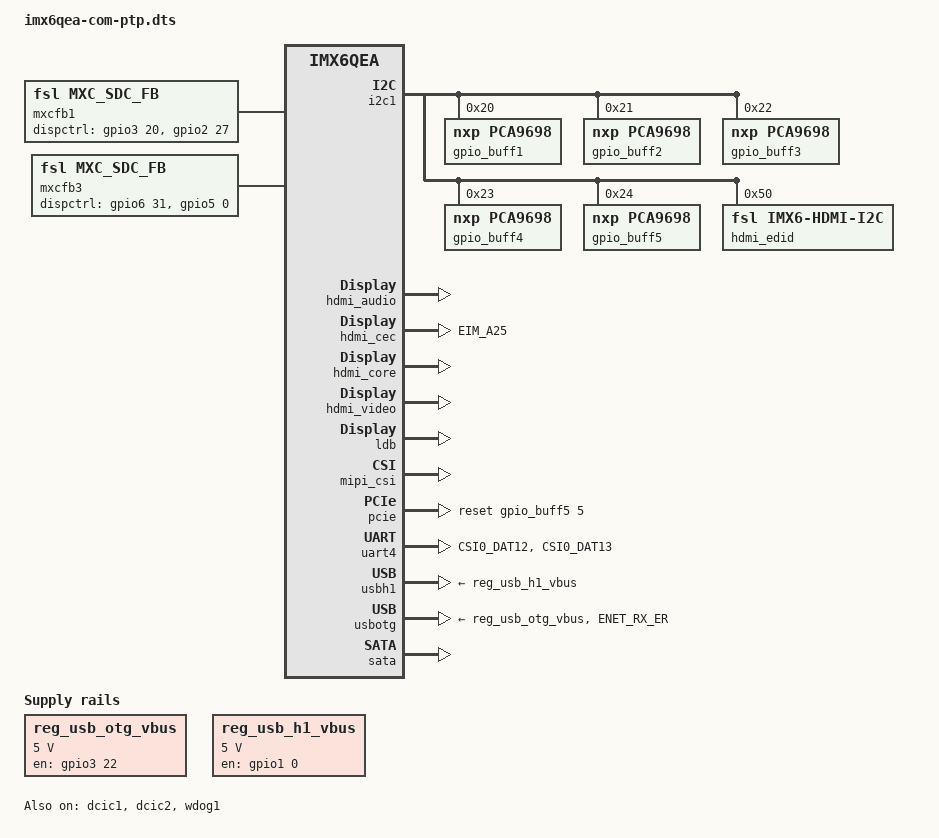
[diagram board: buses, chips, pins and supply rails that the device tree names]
/*
 * Copyright 2012 Freescale Semiconductor, Inc.
 * Copyright 2011 Linaro Ltd.
 *
 * The code contained herein is licensed under the GNU General Public
 * License. You may obtain a copy of the GNU General Public License
 * Version 2 or later at the following locations:
 *
 * http://www.opensource.org/licenses/gpl-license.html
 * http://www.gnu.org/copyleft/gpl.html
 */

/dts-v1/;
 
#include "imx6qea-com.dtsi"


/ {
	aliases {
		mxcfb0 = &mxcfb1;
		mxcfb1 = &mxcfb2;
		mxcfb2 = &mxcfb3;
	};


	regulators {
		compatible = "simple-bus";
		#address-cells = <1>;
		#size-cells = <0>;

		reg_usb_otg_vbus: regulator@0 {
			compatible = "regulator-fixed";
			reg = <0>;
			regulator-name = "usb_otg_vbus";
			regulator-min-microvolt = <5000000>;
			regulator-max-microvolt = <5000000>;
			gpio = <&gpio3 22 GPIO_ACTIVE_HIGH>;
			enable-active-high;
		};

		reg_usb_h1_vbus: regulator@1 {
			compatible = "regulator-fixed";
			reg = <1>;
			pinctrl-names = "default";
			pinctrl-0 = <&pinctrl_usb_h1>;
			regulator-name = "usb_h1_vbus";
			regulator-min-microvolt = <5000000>;
			regulator-max-microvolt = <5000000>;
			gpio = <&gpio1 0 GPIO_ACTIVE_HIGH>;
			enable-active-high;
		};
	};

	sound-hdmi {
		compatible = "fsl,imx6q-audio-hdmi",
			     "fsl,imx-audio-hdmi";
		model = "imx-audio-hdmi";
		hdmi-controller = <&hdmi_audio>;
	};

	mxcfb1: fb@0 {
		compatible = "fsl,mxc_sdc_fb";
		disp_dev = "ldb";
		interface_pix_fmt = "RGB24";
		default_bpp = <32>;
		int_clk = <0>;
		late_init = <0>;
		dispctrl-gpios = <&gpio3 20 GPIO_ACTIVE_HIGH>, <&gpio2 27 GPIO_ACTIVE_HIGH>;
		status = "okay";
	};

	mxcfb2: fb@1 {
		compatible = "fsl,mxc_sdc_fb";
		disp_dev = "hdmi";
		interface_pix_fmt = "RGB24";
		mode_str ="640x480M@60";
		default_bpp = <32>;
		int_clk = <0>;
		late_init = <0>;
		status = "okay";
	};

	mxcfb3: fb@2 {
		compatible = "fsl,mxc_sdc_fb";
		disp_dev = "ldb";
		interface_pix_fmt = "RGB24";
		default_bpp = <32>;
		int_clk = <0>;
		late_init = <0>;
		dispctrl-gpios = <&gpio6 31 GPIO_ACTIVE_HIGH>, <&gpio5 0 GPIO_ACTIVE_HIGH>;
		status = "okay";
	};
};

&i2c1 {
        gpio_buff1: pca9698@20 {
                compatible = "nxp,pca9698";
                reg = <0x20>;
                gpio-controller;
                #gpio-cells = <2>;
        };
        gpio_buff2: pca9698@21 {
                compatible = "nxp,pca9698";
                reg = <0x21>;
                gpio-controller;
                #gpio-cells = <2>;
        };
        gpio_buff3: pca9698@22 {
                compatible = "nxp,pca9698";
                reg = <0x22>;
                gpio-controller;
                #gpio-cells = <2>;
        };
        gpio_buff4: pca9698@23 {
                compatible = "nxp,pca9698";
                reg = <0x23>;
                gpio-controller;
                #gpio-cells = <2>;
        };
        gpio_buff5: pca9698@24 {
                compatible = "nxp,pca9698";
                reg = <0x24>;
                gpio-controller;
                #gpio-cells = <2>;
        };	
	hdmi_edid: edid@50 {
		compatible = "fsl,imx6-hdmi-i2c";
		reg = <0x50>;
	};
};

&i2c2 {
	status = "disabled";
};

&i2c3 {
	status = "disabled";
};


&iomuxc {
	pinctrl-0 = <&pinctrl_hog>, <&pinctrl_test>;

	imx6qea-com-kit {
		pinctrl_test: tstgrp {
			fsl,pins = <
				/* From imx6qea-com.dtsi  */
				MX6QDL_PAD_EIM_D17__GPIO3_IO17		0x1f099
				MX6QDL_PAD_EIM_D18__GPIO3_IO18		0x1f099
				MX6QDL_PAD_EIM_D16__GPIO3_IO16		0x1f099
				MX6QDL_PAD_KEY_COL3__GPIO4_IO12		0x1f099
				MX6QDL_PAD_KEY_ROW3__GPIO4_IO13		0x1f099
				MX6QDL_PAD_GPIO_5__GPIO1_IO05		0x1f099
				MX6QDL_PAD_GPIO_6__GPIO1_IO06		0x1f099

				/* From pinctrl_audmux: audmuxgrp */
				MX6QDL_PAD_CSI0_DAT7__GPIO5_IO25	0x1f099
				MX6QDL_PAD_CSI0_DAT4__GPIO5_IO22	0x1f099
				MX6QDL_PAD_CSI0_DAT5__GPIO5_IO23	0x1f099
				MX6QDL_PAD_CSI0_DAT6__GPIO5_IO24	0x1f099
				MX6QDL_PAD_GPIO_19__GPIO4_IO05		0x1f099

				/* From pinctrl_uart1: uart1grp */
				MX6QDL_PAD_CSI0_DAT10__GPIO5_IO28	0x1f099
				MX6QDL_PAD_CSI0_DAT11__GPIO5_IO29	0x1f099

				/* From: pinctrl_uart5: uart5grp */
				MX6QDL_PAD_CSI0_DAT14__GPIO6_IO00	0x1f099
				MX6QDL_PAD_CSI0_DAT15__GPIO6_IO01	0x1f099
				MX6QDL_PAD_CSI0_DAT19__GPIO6_IO05	0x1f099
				MX6QDL_PAD_CSI0_DAT18__GPIO6_IO04	0x1f099
				/* MX6QDL_PAD_EIM_D23__GPIO3_IO23	0x1f099*/
				MX6QDL_PAD_CSI0_DAT17__GPIO6_IO03 	0x1f099
				MX6QDL_PAD_CSI0_DAT16__GPIO6_IO02	0x1f099
				MX6QDL_PAD_EIM_A19__GPIO2_IO19		0x1f099

				/* From: pinctrl_vcc_sd2: vccsd2grp */
				MX6QDL_PAD_SD3_RST__GPIO7_IO08		0x1f099

				/* From: pinctrl_can_gpios: can-gpios */
				MX6QDL_PAD_NANDF_CS0__GPIO6_IO11	0x1f099

				/* From: pinctrl_flexcan1: flexcan1grp */
				MX6QDL_PAD_KEY_ROW2__GPIO4_IO11		0x1b020
				MX6QDL_PAD_KEY_COL2__GPIO4_IO10		0x1b020

				/* From: pinctrl_flexcan2: flexcan2grp */
				MX6QDL_PAD_KEY_ROW4__GPIO4_IO15		0x1b020
				MX6QDL_PAD_KEY_COL4__GPIO4_IO14		0x1b020

				/* From: pinctrl_usdhc2: usdhc2grp */
				MX6QDL_PAD_SD2_CMD__GPIO1_IO11		0x1f099
				MX6QDL_PAD_SD2_CLK__GPIO1_IO10		0x10059
				MX6QDL_PAD_SD2_DAT0__GPIO1_IO15		0x1f099
				MX6QDL_PAD_SD2_DAT1__GPIO1_IO14		0x1f099
				MX6QDL_PAD_SD2_DAT2__GPIO1_IO13		0x1f099
				MX6QDL_PAD_SD2_DAT3__GPIO1_IO12		0x1f099
				MX6QDL_PAD_NANDF_WP_B__GPIO6_IO09	0x1f099

		                /* From: pinctrl_gpio_keys: gpio_keysgrp */
                                MX6QDL_PAD_EIM_D29__GPIO3_IO29		0x1f099

				/* From: pinctrl_ipu1_2 */
				MX6QDL_PAD_EIM_A16__GPIO2_IO22          0x1f099
				MX6QDL_PAD_EIM_A17__GPIO2_IO21          0x1f099
				MX6QDL_PAD_EIM_A18__GPIO2_IO20          0x1f099
				MX6QDL_PAD_EIM_A19__GPIO2_IO19          0x1f099
				MX6QDL_PAD_EIM_A20__GPIO2_IO18          0x1f099
				MX6QDL_PAD_EIM_A21__GPIO2_IO17          0x1f099
				MX6QDL_PAD_EIM_A22__GPIO2_IO16          0x1f099
				MX6QDL_PAD_EIM_A23__GPIO6_IO06          0x1f099
				MX6QDL_PAD_EIM_A24__GPIO5_IO04          0x1f099
				MX6QDL_PAD_EIM_DA11__GPIO3_IO11         0x1f099
				MX6QDL_PAD_EIM_DA12__GPIO3_IO12         0x1f099

				/* From: pinctrl_rgb_connector */
				MX6QDL_PAD_EIM_A20__GPIO2_IO18		0x1f099
				MX6QDL_PAD_EIM_DA14__GPIO3_IO14		0x1f099

				/* From: pcie reset pin */
				MX6QDL_PAD_GPIO_1__GPIO1_IO01		0x1f099

				/* Previously Undeclared */
				MX6QDL_PAD_EIM_EB0__GPIO2_IO28          0x1f099
				MX6QDL_PAD_EIM_EB1__GPIO2_IO29          0x1f099
				MX6QDL_PAD_EIM_DA0__GPIO3_IO00          0x1f099
				MX6QDL_PAD_EIM_DA1__GPIO3_IO01          0x1f099
				MX6QDL_PAD_EIM_DA2__GPIO3_IO02          0x1f099
				MX6QDL_PAD_EIM_DA3__GPIO3_IO03          0x1f099
				MX6QDL_PAD_EIM_DA4__GPIO3_IO04          0x1f099
				MX6QDL_PAD_EIM_DA5__GPIO3_IO05          0x1f099
				MX6QDL_PAD_EIM_DA6__GPIO3_IO06          0x1f099
				MX6QDL_PAD_EIM_DA7__GPIO3_IO07          0x1f099
				MX6QDL_PAD_EIM_DA8__GPIO3_IO08          0x1f099
				MX6QDL_PAD_EIM_DA9__GPIO3_IO09          0x1f099
				MX6QDL_PAD_EIM_DA15__GPIO3_IO15         0x1f099
				MX6QDL_PAD_EIM_DA10__GPIO3_IO10         0x1f099
				/* MX6QDL_PAD_DI0_PIN2__GPIO4_IO18         0x1f099 in use as MX6QDL_PAD_DI0_PIN15__IPU1_DI0_PIN02 */
				/* MX6QDL_PAD_DI0_PIN3__GPIO4_IO19         0x1f099 in use as MX6QDL_PAD_DI0_PIN15__IPU1_DI0_PIN03 */
				/* MX6QDL_PAD_DI0_PIN15__GPIO4_IO17        0x1f099 in use as MX6QDL_PAD_DI0_PIN15__IPU1_DI0_PIN15 */
				MX6QDL_PAD_EIM_A25__GPIO5_IO02          0x1f099
				MX6QDL_PAD_KEY_COL4__GPIO4_IO14         0x1f099
				MX6QDL_PAD_ENET_RXD0__GPIO1_IO27        0x1f099
				 MX6QDL_PAD_GPIO_16__GPIO7_IO11         0x1f099
				MX6QDL_PAD_EIM_DA13__GPIO3_IO13         0x1f099
				MX6QDL_PAD_EIM_CS0__GPIO2_IO23          0x1f099
				MX6QDL_PAD_EIM_CS1__GPIO2_IO24          0x1f099
				MX6QDL_PAD_EIM_OE__GPIO2_IO25           0x1f099
				MX6QDL_PAD_SD3_DAT3__GPIO7_IO07         0x1f099
				MX6QDL_PAD_SD3_DAT2__GPIO7_IO06         0x1f099
				MX6QDL_PAD_CSI0_VSYNC__GPIO5_IO21       0x1f099
				MX6QDL_PAD_CSI0_DATA_EN__GPIO5_IO20     0x1f099
				MX6QDL_PAD_EIM_RW__GPIO2_IO26           0x1f099
				MX6QDL_PAD_SD3_DAT5__GPIO7_IO00         0x1f099
				MX6QDL_PAD_SD3_DAT4__GPIO7_IO01         0x1f099
				MX6QDL_PAD_SD3_CMD__GPIO7_IO02          0x1f099
				MX6QDL_PAD_SD3_CLK__GPIO7_IO03          0x1f099
				MX6QDL_PAD_SD3_DAT0__GPIO7_IO04         0x1f099
				MX6QDL_PAD_SD3_DAT1__GPIO7_IO05         0x1f099
				MX6QDL_PAD_SD3_DAT7__GPIO6_IO17         0x1f099
				MX6QDL_PAD_SD3_DAT6__GPIO6_IO18         0x1f099
				MX6QDL_PAD_CSI0_PIXCLK__GPIO5_IO18      0x1f099
				MX6QDL_PAD_GPIO_7__GPIO1_IO07           0x1f099
				MX6QDL_PAD_GPIO_8__GPIO1_IO08           0x1f099

				/* From imx6q.dtsi - pinctrl_ipu2_1: ipu2grp-1 */
				MX6QDL_PAD_DI0_DISP_CLK__GPIO4_IO16     0x1f099
				MX6QDL_PAD_DI0_PIN15__GPIO4_IO17        0x1f099
				MX6QDL_PAD_DI0_PIN2__GPIO4_IO18         0x1f099
				MX6QDL_PAD_DI0_PIN3__GPIO4_IO19         0x1f099
				MX6QDL_PAD_DI0_PIN4__GPIO4_IO20         0x1f099
				MX6QDL_PAD_DISP0_DAT0__GPIO4_IO21       0x1f099
				MX6QDL_PAD_DISP0_DAT1__GPIO4_IO22       0x1f099
				MX6QDL_PAD_DISP0_DAT2__GPIO4_IO23       0x1f099
				MX6QDL_PAD_DISP0_DAT3__GPIO4_IO24       0x1f099
				MX6QDL_PAD_DISP0_DAT4__GPIO4_IO25       0x1f099
				MX6QDL_PAD_DISP0_DAT5__GPIO4_IO26       0x1f099
				MX6QDL_PAD_DISP0_DAT6__GPIO4_IO27       0x1f099
				MX6QDL_PAD_DISP0_DAT7__GPIO4_IO28       0x1f099
				MX6QDL_PAD_DISP0_DAT8__GPIO4_IO29       0x1f099
				MX6QDL_PAD_DISP0_DAT9__GPIO4_IO30       0x1f099
				MX6QDL_PAD_DISP0_DAT10__GPIO4_IO31      0x1f099
				MX6QDL_PAD_DISP0_DAT11__GPIO5_IO05      0x1f099
				MX6QDL_PAD_DISP0_DAT12__GPIO5_IO06      0x1f099
				MX6QDL_PAD_DISP0_DAT13__GPIO5_IO07      0x1f099
				MX6QDL_PAD_DISP0_DAT14__GPIO5_IO08      0x1f099
				MX6QDL_PAD_DISP0_DAT15__GPIO5_IO09      0x1f099
				MX6QDL_PAD_DISP0_DAT16__GPIO5_IO10      0x1f099
				MX6QDL_PAD_DISP0_DAT17__GPIO5_IO11      0x1f099
				MX6QDL_PAD_DISP0_DAT18__GPIO5_IO12      0x1f099
				MX6QDL_PAD_DISP0_DAT19__GPIO5_IO13      0x1f099
				MX6QDL_PAD_DISP0_DAT20__GPIO5_IO14      0x1f099
				MX6QDL_PAD_DISP0_DAT21__GPIO5_IO15      0x1f099
				MX6QDL_PAD_DISP0_DAT22__GPIO5_IO16      0x1f099
				MX6QDL_PAD_DISP0_DAT23__GPIO5_IO17      0x1f099

				/* From pinctrl_pwm1: pwm1grp */
				MX6QDL_PAD_SD1_DAT3__GPIO1_IO21         0x1f099

				/* From pinctrl_pwm2: pwm2grp */
				MX6QDL_PAD_SD1_DAT2__GPIO1_IO19         0x1f099
		
				/* From pinctrl_lvds1_connector: lvds1_connector_grp */
				MX6QDL_PAD_EIM_EB3__GPIO2_IO31		0x1f099

				/* From pinctrl_lcd_gpios: lcd-gpios */
				MX6QDL_PAD_EIM_BCLK__GPIO6_IO31		0x17059
				MX6QDL_PAD_EIM_WAIT__GPIO5_IO00		0x17059
				MX6QDL_PAD_EIM_D20__GPIO3_IO20		0x17059
				MX6QDL_PAD_EIM_LBA__GPIO2_IO27		0x17059
			>;
		};

		pinctrl_hdmi_cec: hdmicecgrp {
			fsl,pins = <
				MX6QDL_PAD_EIM_A25__HDMI_TX_CEC_LINE    0x1f8b0
			>;
		};

		pinctrl_hdmi_hdcp: hdmihdcpgrp {
			fsl,pins = <
				MX6QDL_PAD_KEY_COL3__HDMI_TX_DDC_SCL 0x4001b8b1
				MX6QDL_PAD_KEY_ROW3__HDMI_TX_DDC_SDA 0x4001b8b1
			>;
		};

		pinctrl_uart4: uart4grp {
			fsl,pins = <
				MX6QDL_PAD_CSI0_DAT12__UART4_TX_DATA	0x1b0b1
				MX6QDL_PAD_CSI0_DAT13__UART4_RX_DATA	0x1b0b1
			>;
		};

		pinctrl_usbotg: usbotggrp {
			fsl,pins = <
				MX6QDL_PAD_ENET_RX_ER__USB_OTG_ID	0x17059
			>;
		};

		pinctrl_usb_h1: usbh1grp {
			fsl,pins = <
				MX6QDL_PAD_GPIO_0__GPIO1_IO00	0x1b0b0
			>;
		};
 	};
};

&dcic1 {
	dcic_id = <0>;
	dcic_mux = "dcic-hdmi";
	status = "okay";
};

&dcic2 {
	dcic_id = <1>;
	dcic_mux = "dcic-lvds1";
	status = "okay";
};


&hdmi_audio {
	status = "okay";
};

&hdmi_cec {
	pinctrl-names = "default";
	pinctrl-0 = <&pinctrl_hdmi_cec>;
	status = "okay";
};

&hdmi_core {
	ipu_id = <0>;
	disp_id = <1>;
	status = "okay";
};

&hdmi_video {
	fsl,phy_reg_vlev = <0x0294>;
	fsl,phy_reg_cksymtx = <0x800d>;
	status = "okay";
};

&ldb {
	status = "okay";

	lvds-channel@0 {
		fsl,data-mapping = "spwg";
		fsl,data-width = <24>;
		status = "okay";

		display-timings {
			native-mode = <&t_lvds>;
			t_lvds: t_lvds_default {
				clock-frequency = <25175000>;
				hactive = <640>;
				vactive = <480>;
				hback-porch = <10>;
				hfront-porch = <10>;
				vback-porch = <10>;
				vfront-porch = <10>;
				hsync-len = <60>;
				vsync-len = <10>;
			};
		};
	};

	lvds-channel@1 {
		fsl,data-mapping = "spwg";
		fsl,data-width = <24>;
		primary;
		status = "okay";

		display-timings {
			native-mode = <&t_lvds2>;
			t_lvds2: t_lvds2_default {
				clock-frequency = <25175000>;
				hactive = <640>;
				vactive = <480>;
				hback-porch = <10>;
				hfront-porch = <10>;
				vback-porch = <10>;
				vfront-porch = <10>;
				hsync-len = <60>;
				vsync-len = <10>;
			};
		};
	};
};

&mipi_csi {
	status = "okay";
	ipu_id = <0>;
	csi_id = <1>;
	v_channel = <0>;
	lanes = <2>;
};

/* mipi_dsi has the same ip_id/disp_id as the hdmi_core so only enble one of the */
&mipi_dsi {
	dev_id = <0>;
	disp_id = <1>;
	lcd_panel = "TRULY-WVGA";
	status = "disabled";
};

&pcie {
	reset-gpio = <&gpio_buff5 5 GPIO_ACTIVE_HIGH>; /* TST_GPIO_165 */
	status = "okay";
};

&pwm1 {
	status = "disabled";
};

&pwm2 {
	status = "disabled";
};

&ssi2 {
	fsl,mode = "i2s-master";
	status = "disabled";
};

&uart1 {
	status = "disabled";
};

&uart2 {
	status = "disabled";
};

&uart3 {
	status = "disabled";
};

&uart4 {
	pinctrl-names = "default";
	pinctrl-0 = <&pinctrl_uart4>;
	status = "okay";
};

&uart5 {
	status = "disabled";
};

&usbh1 {
	vbus-supply = <&reg_usb_h1_vbus>;
	status = "okay";
};

&usbotg {
	vbus-supply = <&reg_usb_otg_vbus>;
	pinctrl-names = "default";
	pinctrl-0 = <&pinctrl_usbotg>;
	disable-over-current;
	status = "okay";
};

&usdhc2 {
	status = "disabled";
};


&wdog1 {
	status = "okay";
};

&wdog2 {
	status = "disabled";
};


&ldb {
	lvds-channel@0 {
		crtc = "ipu2-di0";
	};

	lvds-channel@1 {
		crtc = "ipu2-di1";
	};
};

&sata {
	status = "okay";
};

&can1 {
	status = "disabled";
};

&can2 {
	status = "disabled";
};

&ecspi1 {
	status = "disabled";
};

&ecspi2 {
	status = "disabled";
};

